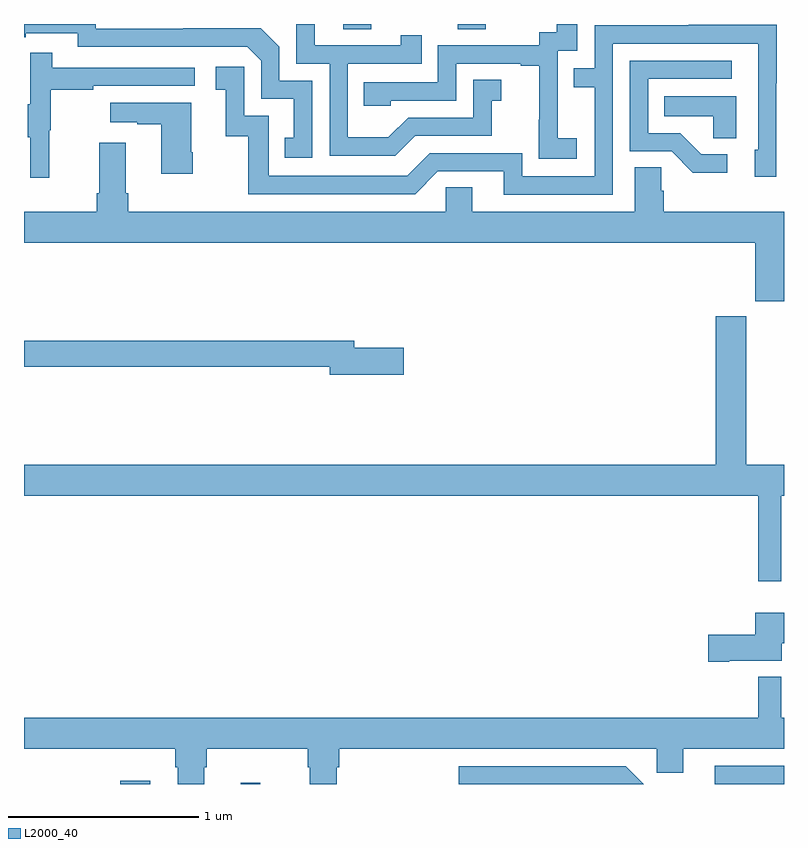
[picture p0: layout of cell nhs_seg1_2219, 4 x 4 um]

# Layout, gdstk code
import gdstk
lib = gdstk.Library(unit=1e-6, precision=1e-09)
def R(c, l, rs):  # rectangles x0, y0, x1, y1
    for r in rs: c.add(gdstk.rectangle(r[:2], r[2:], *l))
def P(c, l, *ps):  # polygons
    for p in ps: c.add(gdstk.Polygon(p, *l))
L2000_40 = (2000, 40)

nhs_seg1_2219 = lib.new_cell('nhs_seg1_2219')
R(nhs_seg1_2219, L2000_40, [(231.506,566.199,231.664,566.215), (232.142,566.199,232.244,566.206), (234.635,566.199,235,566.295), (232.679,570.172,232.827,570.199), (233.284,570.172,233.431,570.199)])
P(nhs_seg1_2219, L2000_40, [(232.518,569.901),(232.344,569.901),(232.344,570.078),(232.246,570.176),(231.838,570.176),(231.838,570.174),(231.378,570.174),(231.378,570.199),(231,570.199),(231,570.13),(231.01,570.13),(231.01,570.15),(231.282,570.15),(231.282,570.078),(232.176,570.078),(232.248,570.006),(232.248,569.805),(232.421,569.805),(232.421,569.601),(232.372,569.601),(232.372,569.496),(232.518,569.496)],
  [(233.908,569.599),(233.81,569.599),(233.81,569.828),(233.808,569.828),(233.808,570.057),(233.913,570.057),(233.913,570.199),(233.805,570.199),(233.805,570.156),(233.712,570.156),(233.712,570.087),(233.178,570.087),(233.178,569.892),(232.789,569.892),(232.789,569.769),(232.929,569.769),(232.929,569.796),(233.274,569.796),(233.274,569.991),(233.615,569.991),(233.615,569.979),(233.711,569.979),(233.711,569.695),(233.71,569.695),(233.71,569.489),(233.908,569.489)],
  [(233.059,569.61),(233.463,569.61),(233.463,569.795),(233.512,569.795),(233.512,569.905),(233.364,569.905),(233.364,569.706),(233.022,569.706),(232.918,569.602),(232.704,569.602),(232.704,569.991),(233.093,569.991),(233.093,570.139),(232.982,570.139),(232.982,570.087),(232.531,570.087),(232.531,570.199),(232.434,570.199),(232.434,569.991),(232.608,569.991),(232.608,569.505),(232.954,569.505)],
  [(234.099,570.096),(234.864,570.096),(234.864,569.538),(234.845,569.538),(234.845,569.394),(234.96,569.394),(234.96,569.887),(234.963,569.887),(234.963,570.194),(234.499,570.194),(234.499,570.192),(234.003,570.192),(234.003,569.967),(233.893,569.967),(233.893,569.866),(234.003,569.866),(234.003,569.397),(233.622,569.397),(233.622,569.52),(233.136,569.52),(233.016,569.4),(232.287,569.4),(232.287,569.715),(232.158,569.715),(232.158,569.974),(232.008,569.974),(232.008,569.853),(232.061,569.853),(232.061,569.607),(232.179,569.607),(232.179,569.304),(233.058,569.304),(233.178,569.424),(233.525,569.424),(233.525,569.301),(234.099,569.301)],
  [(231.134,569.64),(231.142,569.64),(231.142,569.854),(231.365,569.854),(231.365,569.874),(231.898,569.874),(231.898,569.97),(231.149,569.97),(231.149,570.049),(231.032,570.049),(231.032,569.777),(231.021,569.777),(231.021,569.603),(231.032,569.603),(231.032,569.391),(231.134,569.391)],
  [(234.7,569.514),(234.565,569.514),(234.454,569.625),(234.285,569.625),(234.285,569.91),(234.724,569.91),(234.724,570.006),(234.189,570.006),(234.189,569.529),(234.408,569.529),(234.521,569.417),(234.7,569.417)],
  [(234.748,569.818),(234.37,569.818),(234.37,569.714),(234.627,569.714),(234.627,569.599),(234.748,569.599)],
  [(231.888,569.524),(231.88,569.524),(231.88,569.785),(231.453,569.785),(231.453,569.681),(231.596,569.681),(231.596,569.671),(231.722,569.671),(231.722,569.412),(231.888,569.412)],
  [(234.848,568.739),(235,568.739),(235,569.212),(234.368,569.212),(234.368,569.321),(234.354,569.321),(234.354,569.444),(234.215,569.444),(234.215,569.212),(233.359,569.212),(233.359,569.339),(233.22,569.339),(233.22,569.212),(231.548,569.212),(231.548,569.308),(231.535,569.308),(231.535,569.575),(231.395,569.575),(231.395,569.308),(231.383,569.308),(231.383,569.212),(231,569.212),(231,569.048),(234.848,569.048)],
  [(234.985,567.716),(235,567.716),(235,567.88),(234.801,567.88),(234.801,568.66),(234.641,568.66),(234.641,567.88),(231,567.88),(231,567.716),(234.864,567.716),(234.864,567.267),(234.985,567.267)],
  [(232.999,568.496),(232.738,568.496),(232.738,568.532),(231,568.532),(231,568.396),(232.61,568.396),(232.61,568.354),(232.999,568.354)],
  [(234.712,566.849),(234.988,566.849),(234.988,566.939),(235,566.939),(235,567.1),(234.848,567.1),(234.848,566.984),(234.6,566.984),(234.6,566.842),(234.712,566.842)],
  [(231.949,566.288),(231.962,566.288),(231.962,566.384),(232.493,566.384),(232.493,566.288),(232.505,566.288),(232.505,566.199),(232.645,566.199),(232.645,566.288),(232.658,566.288),(232.658,566.384),(234.33,566.384),(234.33,566.257),(234.469,566.257),(234.469,566.384),(235,566.384),(235,566.548),(234.985,566.548),(234.985,566.764),(234.864,566.764),(234.864,566.548),(231,566.548),(231,566.384),(231.797,566.384),(231.797,566.288),(231.809,566.288),(231.809,566.199),(231.949,566.199)],
  [(234.168,566.292),(233.289,566.292),(233.289,566.199),(234.261,566.199)])

lib.write_gds('nhs_seg1_2219.gds')
